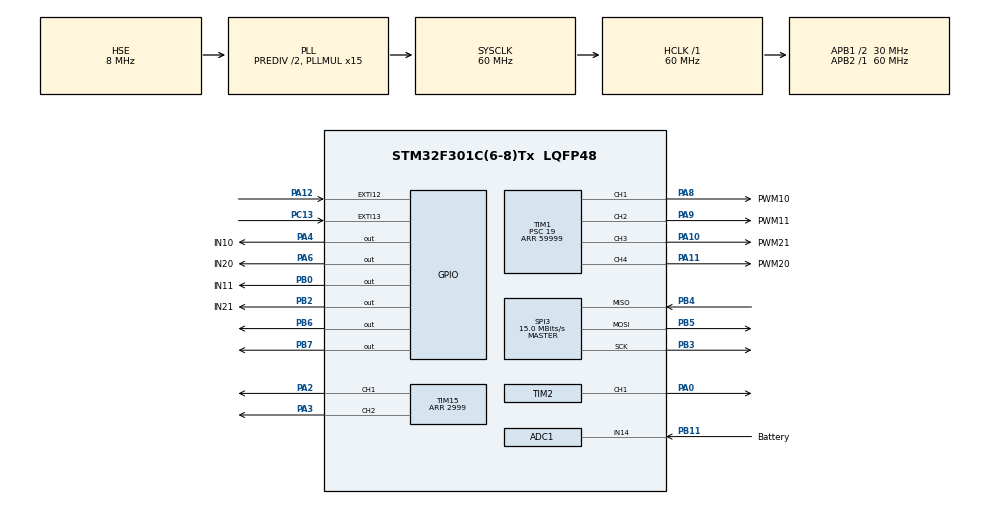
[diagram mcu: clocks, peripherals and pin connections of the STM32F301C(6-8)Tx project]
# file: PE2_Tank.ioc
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ADC1.Channel-0\#ChannelRegularConversion=ADC_CHANNEL_14
ADC1.ClockPrescaler=ADC_CLOCK_SYNC_PCLK_DIV4
ADC1.ContinuousConvMode=ENABLE
ADC1.DMAContinuousRequests=DISABLE
ADC1.EOCSelection=ADC_EOC_SEQ_CONV
ADC1.NbrOfConversionFlag=1
ADC1.Offset-0\#ChannelRegularConversion=0
ADC1.OffsetNumber-0\#ChannelRegularConversion=ADC_OFFSET_NONE
ADC1.Rank-0\#ChannelRegularConversion=1
ADC1.SamplingTime-0\#ChannelRegularConversion=ADC_SAMPLETIME_19CYCLES_5
ADC1.SamplingTimeOPAMP-0\#ChannelRegularConversion=ADC_SAMPLETIME_61CYCLES_5
ADC1.SubFamily=STM32F301x8
ADC1.master=1
Mcu.Family=STM32F3
Mcu.Name=STM32F301C(6-8)Tx
Mcu.Package=LQFP48
NVIC.EXTI15_10_IRQn=true\:0\:0\:false\:false\:true\:true\:true\:true
NVIC.PriorityGroup=NVIC_PRIORITYGROUP_4
NVIC.TIM1_BRK_TIM15_IRQn=true\:0\:0\:false\:false\:true\:true\:true\:true
NVIC.TIM2_IRQn=true\:0\:0\:false\:false\:true\:true\:true\:true
PA0.Signal=S_TIM2_CH1_ETR
PA10.GPIO_Label=PWM21
PA10.Signal=S_TIM1_CH3
PA11.GPIO_Label=PWM20
PA11.Signal=S_TIM1_CH4
PA12.Signal=GPXTI12
PA13.Mode=Serial_Wire
PA13.Signal=SYS_JTMS-SWDIO
PA14.Mode=Serial_Wire
PA14.Signal=SYS_JTCK-SWCLK
PA2.Signal=S_TIM15_CH1
PA3.Signal=S_TIM15_CH2
PA4.GPIO_Label=IN10
PA4.Signal=GPIO_Output
PA6.GPIO_Label=IN20
PA6.Signal=GPIO_Output
PA8.GPIO_Label=PWM10
PA8.Signal=S_TIM1_CH1
PA9.GPIO_Label=PWM11
PA9.Signal=S_TIM1_CH2
PB0.GPIO_Label=IN11
PB0.Signal=GPIO_Output
PB11.GPIO_Label=Battery
PB11.Mode=IN14-Single-Ended
PB11.Signal=ADC1_IN14
PB2.GPIO_Label=IN21
PB2.Signal=GPIO_Output
PB3.Mode=Full_Duplex_Master
PB3.Signal=SPI3_SCK
PB4.Mode=Full_Duplex_Master
PB4.Signal=SPI3_MISO
PB5.Mode=Full_Duplex_Master
PB5.Signal=SPI3_MOSI
PB6.Signal=GPIO_Output
PB7.Signal=GPIO_Output
PC13.Signal=GPXTI13
PF0-OSC_IN.Mode=HSE-External-Oscillator
PF0-OSC_IN.Signal=RCC_OSC_IN
PF1-OSC_OUT.Mode=HSE-External-Oscillator
PF1-OSC_OUT.Signal=RCC_OSC_OUT
ProjectManager.HeapSize=0x200
ProjectManager.StackSize=0x400
ProjectManager.TargetToolchain=STM32CubeIDE
RCC.AHBFreq_Value=60000000
RCC.APB1CLKDivider=RCC_HCLK_DIV2
RCC.APB1Freq_Value=30000000
RCC.APB1TimFreq_Value=60000000
RCC.APB2Freq_Value=60000000
RCC.APB2TimFreq_Value=60000000
RCC.CortexFreq_Value=60000000
RCC.HCLKFreq_Value=60000000
RCC.HSE_VALUE=8000000
RCC.HSI_VALUE=8000000
RCC.LSE_VALUE=32768
RCC.PLLMUL=RCC_PLL_MUL15
RCC.PLLSourceVirtual=RCC_PLLSOURCE_HSE
RCC.RCC_PLLsource_Clock_Source_FROM_HSE=RCC_HSE_PREDIV_DIV2
RCC.SYSCLKFreq_VALUE=60000000
RCC.SYSCLKSourceVirtual=RCC_SYSCLKSOURCE_PLLCLK
SH.S_TIM15_CH1.0=TIM15_CH1,PWM Generation1 CH1
SH.S_TIM15_CH2.0=TIM15_CH2,PWM Generation2 CH2
SH.S_TIM1_CH1.0=TIM1_CH1,PWM Generation1 CH1
SH.S_TIM1_CH2.0=TIM1_CH2,PWM Generation2 CH2
SH.S_TIM1_CH3.0=TIM1_CH3,PWM Generation3 CH3
SH.S_TIM1_CH4.0=TIM1_CH4,PWM Generation4 CH4
SH.S_TIM2_CH1_ETR.0=TIM2_CH1,PWM Generation1 CH1
SPI3.CalculateBaudRate=15.0 MBits/s
SPI3.DataSize=SPI_DATASIZE_8BIT
SPI3.Direction=SPI_DIRECTION_2LINES
SPI3.Mode=SPI_MODE_MASTER
SPI3.VirtualType=VM_MASTER
TIM1.Channel-PWM\ Generation1\ CH1=TIM_CHANNEL_1
TIM1.Channel-PWM\ Generation2\ CH2=TIM_CHANNEL_2
TIM1.Channel-PWM\ Generation3\ CH3=TIM_CHANNEL_3
TIM1.Channel-PWM\ Generation4\ CH4=TIM_CHANNEL_4
TIM1.OC1Preload_PWM=ENABLE
TIM1.OC2Preload_PWM=ENABLE
TIM1.OC3Preload_PWM=ENABLE
TIM1.OC4Preload_PWM=ENABLE
TIM1.OCFastMode_PWM-PWM\ Generation1\ CH1=TIM_OCFAST_ENABLE
TIM1.OCFastMode_PWM-PWM\ Generation2\ CH2=TIM_OCFAST_ENABLE
TIM1.OCFastMode_PWM-PWM\ Generation3\ CH3=TIM_OCFAST_ENABLE
TIM1.OCFastMode_PWM-PWM\ Generation4\ CH4=TIM_OCFAST_ENABLE
TIM1.OCPolarity_1=TIM_OCPOLARITY_LOW
TIM1.OCPolarity_2=TIM_OCPOLARITY_LOW
TIM1.OCPolarity_3=TIM_OCPOLARITY_LOW
TIM1.OCPolarity_4=TIM_OCPOLARITY_LOW
TIM1.Period=59999
TIM1.Prescaler=19
TIM15.Channel-PWM\ Generation1\ CH1=TIM_CHANNEL_1
TIM15.Channel-PWM\ Generation2\ CH2=TIM_CHANNEL_2
TIM15.OC1Preload_PWM=ENABLE
TIM15.OC2Preload_PWM=ENABLE
TIM15.OCFastMode_PWM-PWM\ Generation1\ CH1=TIM_OCFAST_ENABLE
TIM15.OCFastMode_PWM-PWM\ Generation2\ CH2=TIM_OCFAST_ENABLE
TIM15.Period=2999
TIM2.AutoReloadPreload=TIM_AUTORELOAD_PRELOAD_DISABLE
TIM2.Channel-PWM\ Generation1\ CH1=TIM_CHANNEL_1
TIM2.OCPolarity_1=TIM_OCPOLARITY_LOW
TIM2.Period=599
TIM2.Prescaler=0
VP_TIM15_VS_ClockSourceINT.Mode=Internal
VP_TIM1_VS_ClockSourceINT.Mode=Internal
VP_TIM2_VS_ClockSourceINT.Mode=Internal
board=custom

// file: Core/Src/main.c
/* USER CODE BEGIN Header */
/**
  ******************************************************************************
  * @file           : main.c
  * @brief          : Main program body
  ******************************************************************************
  * @attention
  *
  * Copyright (c) 2024 STMicroelectronics.
  * All rights reserved.
  *
  * This software is licensed under terms that can be found in the LICENSE file
  * in the root directory of this software component.
  * If no LICENSE file comes with this software, it is provided AS-IS.
  *
  ******************************************************************************
  */
/* USER CODE END Header */
#include "main.h"

/* USER CODE BEGIN Includes */
#include "NRF24L01.h"

/* USER CODE END Includes */

/* USER CODE BEGIN PD */
#define DEAD_ZONE_LOW 1800
#define DEAD_ZONE_HIGH 2400
#define NOJITTER 3
/* USER CODE END PD */

 ADC_HandleTypeDef hadc1;

SPI_HandleTypeDef hspi3;

TIM_HandleTypeDef htim1;
TIM_HandleTypeDef htim2;
TIM_HandleTypeDef htim15;

/* USER CODE BEGIN PV */
 uint8_t RxAddress[] = {0xEE,0xDD,0xCC,0xBB,0xAA}; //Adres waar data naar word gesschreven. Zowel Rx als Tx adress moeten overeen komen bij het zenden en ontvangen van data.
 uint8_t RxData[19]; //Ontvangen data buffer. 18 bytes voor de doorgestuurde ADC's en 1 byte voor de status van de knoppen.
 uint32_t ADC_Values[9]; // Array voor het opslaan van de geconverteerde bytes naar 12bit
 uint8_t buttonStates; // Integer voor het opslaan van de status van de knoppen

 uint32_t dutyCycle_G1 = 0; //dutycycle servo kanon 1
 uint32_t index_G1 = 0; //index voor het rollend gemiddelde
 uint32_t dutyCycle_G1_total = 0; //telt de dutycycle op voor een gemiddelde
 uint32_t dutyCycle_G1_count = 0; //houdt bij hoeveel keer al is opgetelt
 uint32_t values_G1[10] = {0}; // Array voor het opslaan van de weaardes voor de berekening van het gemidelde
 uint32_t av_du_G1 = 0; // gemidelde duty cycle
 uint32_t Last_av_du_G1 = 0; // vorige gemidelde duty cycle

 uint32_t dutyCycle_G2 = 0; //dutycycle servo kanon 2
 uint32_t index_G2 = 0; //index voor het rollend gemiddelde
 uint32_t dutyCycle_G2_total = 0; //telt de dutycycle op voor een gemiddelde
 uint32_t dutyCycle_G2_count = 0; //houdt bij hoeveel keer al is opgetelt
 uint32_t values_G2[10] = {0}; // Array voor het opslaan van de weaardes voor de berekening van het gemidelde
 uint32_t av_du_G2 = 0; // gemidelde duty cycle
 uint32_t Last_av_du_G2 = 0; // vorige gemidelde duty cycle

 uint32_t dutyCycle_T1 = 0; //dutycycle servo kanontoren 1
 uint32_t index_T1 = 0; //index voor het rollend gemiddelde
 uint32_t dutyCycle_T1_total = 0; //telt de dutycycle op voor een gemiddelde
 uint32_t dutyCycle_T1_count = 0; //houdt bij hoeveel keer al is opgetelt
 uint32_t values_T1[10] = {0}; // Array voor het opslaan van de weaardes voor de berekening van het gemidelde
 uint32_t av_du_T1 = 0; // gemidelde duty cycle
 uint32_t Last_av_du_T1 = 0; // vorige gemidelde duty cycle

 uint32_t dutyCycle_T2 = 0; //dutycycle servo kanontoren 2
 uint32_t index_T2 = 0; //index voor het rollend gemiddelde
 uint32_t dutyCycle_T2_total = 0; //telt de dutycycle op voor een gemiddelde
 uint32_t dutyCycle_T2_count = 0; //houdt bij hoeveel keer al is opgetelt
 uint32_t values_T2[10] = {0}; // Array voor het opslaan van de weaardes voor de berekening van het gemidelde
 uint32_t av_du_T2 = 0; // gemidelde duty cycle
 uint32_t Last_av_du_T2 = 0; // vorige gemidelde duty cycle

 uint8_t dutyCycle_CH3 = 0;  // Duty cycle procent voor TIM2 Channel 3
 uint8_t dutyCycle_CH4 = 0;  // Duty cycle in procent voor TIM2 Channel 4
 int lowCountM1 = 0; //Teller om na te gaan of de waarde echt laag is of het gewoon jitter is in motor 1.
 int highCountM1 = 0; //Teller om na te gaan of de waarde echt hoog is of het gewoon jitter is in motor 1.
 int lowCountM2 = 0; //Teller om na te gaan of de waarde echt laag is of het gewoon jitter is in motor 2.
 int highCountM2 = 0; //Teller om na te gaan of de waarde echt hoog is of het gewoon jitter is in motor 2.

 uint32_t ADC; //ADC voor het niveau van de batterij

 uint32_t current_Tick;
 uint32_t prev_Tick;
/* USER CODE END PV */

void SystemClock_Config(void);
static void MX_GPIO_Init(void);
static void MX_SPI3_Init(void);
static void MX_TIM1_Init(void);
static void MX_ADC1_Init(void);
static void MX_TIM2_Init(void);
static void MX_TIM15_Init(void);
/* USER CODE BEGIN PFP */
void processData(void);
void adjustDutyCycle(void);
/* USER CODE END PFP */

/* USER CODE BEGIN 0 */
//////////////////////////////////////////////////////////////////////////////////////////////////////////////////////////////////////////////////////////////////
//////////////////////////////////////////////////////////////////////////////////////////////////////////////////////////////////////////////////////////////////
//////////////////////////////////////////////////////////////////////////////////////////////////////////////////////////////////////////////////////////////////
//////////////////// processData combineert alle ontvangen bytes terug naar hun originele 12 bit staat en onthoudt de status van de knoppen
//////////////////// bv. RxData[j] = lower 8 bits = 0100 1100 en RxData[j+1] = upper 4 bits = 0000 1011
////////////////////	 RxData[j+1] << 8 = 0000 1011 0000 0000
////////////////////     RxData[j] | RxData[j+1] =           0100 1100
////////////////////                            OR 0000 1011 0000 0000
////////////////////                             = 0000 1011 0100 1100 = 12 bit waarde
//////////////////////////////////////////////////////////////////////////////////////////////////////////////////////////////////////////////////////////////////
//////////////////////////////////////////////////////////////////////////////////////////////////////////////////////////////////////////////////////////////////
//////////////////////////////////////////////////////////////////////////////////////////////////////////////////////////////////////////////////////////////////
void processData(void){
	NRF24_Receive(RxData); // Ontvang data
	for (int i = 0, j = 0; i < 9; i++, j += 2) {
		ADC_Values[i] = (RxData[j] | (RxData[j+1] << 8));  // Combineert 2 ontvangen data bytes naar een 12 bit value.
	}
	buttonStates = RxData[18]; // Haalt de status van de knoppen uit de ontvangen data
	adjustDutyCycle(); // Roept de functie op voor het toepassen van de nieuwe waardes
}

//////////////////////////////////////////////////////////////////////////////////////////////////////////////////////////////////////////////////////////////////
//////////////////////////////////////////////////////////////////////////////////////////////////////////////////////////////////////////////////////////////////
//////////////////////////////////////////////////////////////////////////////////////////////////////////////////////////////////////////////////////////////////
//////////////////// adjustDutyCycle gebruikt de ontvangen waardes om de duyclyes van de motoren aan te passen
//////////////////////////////////////////////////////////////////////////////////////////////////////////////////////////////////////////////////////////////////
//////////////////////////////////////////////////////////////////////////////////////////////////////////////////////////////////////////////////////////////////
//////////////////////////////////////////////////////////////////////////////////////////////////////////////////////////////////////////////////////////////////
void adjustDutyCycle(void) {
	///////////////////////////////////////////////////////
	//////////////////// DC Motor 1 ///////////////////////
	///////////////////////////////////////////////////////
	if (ADC_Values[0] < 4096){ // zorgt ervoor dat foutieve waardes boven 4096 genegeert worden
		if (ADC_Values[0] < DEAD_ZONE_LOW) { // Als de ADC waarde onder de threshold ligt gaat de motor achteruit.
			lowCountM1 += 1;
			highCountM1 = 0;
			if(lowCountM1 >= NOJITTER) // Als de waarde 3 keer onder de threshold ligt dan weten we dat het geen jitter is.
			{
				lowCountM1 = 0;
				dutyCycle_CH3 = (DEAD_ZONE_LOW - ADC_Values[0]) * 100 / (DEAD_ZONE_LOW - 500); // berekent de dutycycle voor een waarde onder de threshold
				HAL_GPIO_WritePin(GPIOB, GPIO_PIN_2,0); //Configureert IN21
				HAL_GPIO_WritePin(GPIOB, GPIO_PIN_0,1); //Configureert IN11
			}
		}
		else if (ADC_Values[0] > DEAD_ZONE_HIGH) { // Als de ADC waarde boven de threshold ligt gaat de motor vooruit.
			highCountM1 += 1;
			lowCountM1 = 0;
			if(highCountM1 >= NOJITTER) // Als de waarde 3 keer onder de threshold ligt dan weten we dat het geen jitter is.
			{
				highCountM1 = 0;
				dutyCycle_CH3 = (ADC_Values[0] - DEAD_ZONE_HIGH) * 100 / (3550 - DEAD_ZONE_HIGH); // berekent de dutycycle voor een waarde boven de threshold
				HAL_GPIO_WritePin(GPIOB, GPIO_PIN_0,0); //Configureert IN11
				HAL_GPIO_WritePin(GPIOB, GPIO_PIN_2,1); //Configureert IN21
			}
		}
		else {
			highCountM1 = 0;
			lowCountM1 = 0;
			dutyCycle_CH3 = 0; // Motor stops in dead zone
		}
		__HAL_TIM_SET_COMPARE(&htim15, TIM_CHANNEL_1, (2999 * dutyCycle_CH3) / 100); //Gebruikt de nieuwe duty cycle en laat de motor draaien.
	}
	///////////////////////////////////////////////////////
	///////////////////////////////////////////////////////

	///////////////////////////////////////////////////////
	//////////////////// DC Motor 2 ///////////////////////
	///////////////////////////////////////////////////////
	if (ADC_Values[7] < 4096){ // zorgt ervoor dat foutieve waardes boven 4096 genegeert worden
		if (ADC_Values[7] < DEAD_ZONE_LOW) { // Als de ADC waarde onder de threshold ligt gaat de motor achteruit.
			lowCountM2 += 1;
			highCountM2 = 0;
			if(lowCountM2 >= NOJITTER) // Als de waarde 3 keer onder de threshold ligt dan weten we dat het geen jitter is.
			{
				lowCountM2 = 0;
				dutyCycle_CH4 = (DEAD_ZONE_LOW - ADC_Values[7]) * 100 / (DEAD_ZONE_LOW - 500); // berekent de dutycycle voor een waarde onder de threshold
				HAL_GPIO_WritePin(GPIOA, GPIO_PIN_4,0); //Configureert IN10
				HAL_GPIO_WritePin(GPIOA, GPIO_PIN_6,1); //Configureert IN20
			}
		}
		else if (ADC_Values[7] > DEAD_ZONE_HIGH) { // Als de ADC waarde boven de threshold ligt gaat de motor vooruit.
			highCountM2 += 1;
			lowCountM2 = 0;
			if(highCountM2 >= NOJITTER) // Als de waarde 3 keer onder de threshold ligt dan weten we dat het geen jitter is.
			{
				highCountM2 = 0;
				dutyCycle_CH4 = (ADC_Values[7] - DEAD_ZONE_HIGH) * 100 / (3550 - DEAD_ZONE_HIGH); // berekent de dutycycle voor een waarde boven de threshold
				HAL_GPIO_WritePin(GPIOA, GPIO_PIN_6,0); //Configureert IN20
				HAL_GPIO_WritePin(GPIOA, GPIO_PIN_4,1); //Configureert IN10
			}
		}
		else {
			highCountM2 = 0;
			lowCountM2 = 0;
			dutyCycle_CH4 = 0; // Motor stops in dead zone
		}
		__HAL_TIM_SET_COMPARE(&htim15, TIM_CHANNEL_2, (2999 * dutyCycle_CH4) / 100); //Gebruikt de nieuwe duty cycle en laat de motor draaien.
	}
	///////////////////////////////////////////////////////
	///////////////////////////////////////////////////////

	///////////////////////////////////////////////////////
	//////////////////// Kanon servo 1 ////////////////////
	///////////////////////////////////////////////////////
	dutyCycle_G1 = 3600 + ((ADC_Values[5] * (5200 - 3600)) / 4095); // the duty cycly = min value * % * (Max vcalue - Min Value) (20ms = 60khz)
	if (dutyCycle_G1 < 3600) // De waarden limiteren tot hun max/minimum
	{
		dutyCycle_G1 = 3600;
	}
	if (dutyCycle_G1 > 5200)
	{
		dutyCycle_G1 = 5200;
	}
	dutyCycle_G1_total = dutyCycle_G1_total - values_G1[index_G1] + dutyCycle_G1;
	values_G1[index_G1] = dutyCycle_G1;
	index_G1 = (index_G1 + 1) % 10;
	if (dutyCycle_G1_count < 10) { // Het rollend gemiddelde moet eerst tot 10 waarden stijgen nadien blijft deze hier.
		dutyCycle_G1_count++;
	}
	av_du_G1 = dutyCycle_G1_total / dutyCycle_G1_count; // Bereken de gemiddelde duty cycle
	if (av_du_G1 < 3600) // De waarden limiteren tot hun max/minimum
	{
		av_du_G1 = 3600;
	}
	if (av_du_G1 > 5200)
	{
		av_du_G1 = 5200;
	}
	if (av_du_G1 > Last_av_du_G1)
	{
		if ((av_du_G1 - Last_av_du_G1) > 150) // er mag pas bewogen worden van zodra er een verschil is van meer dan 100 eenheiden tegen over vorige waarde.
		{
			Last_av_du_G1 = av_du_G1;
			HAL_TIM_PWM_Stop(&htim1, TIM_CHANNEL_1);
			HAL_TIM_PWM_Stop(&htim1, TIM_CHANNEL_2);
			HAL_TIM_PWM_Stop(&htim1, TIM_CHANNEL_4);
			__HAL_TIM_SET_COMPARE(&htim1, TIM_CHANNEL_3,av_du_G1); // gebruik de gevonde duty cycle
			HAL_TIM_PWM_Start(&htim1, TIM_CHANNEL_3);
			HAL_Delay(20);
			HAL_TIM_PWM_Stop(&htim1, TIM_CHANNEL_3);
		}
	}
	if (av_du_G1 < Last_av_du_G1)
	{
		if ((Last_av_du_G1 - av_du_G1) > 150) // er mag pas bewogen worden van zodra er een verschil is van meer dan 100 eenheiden tegen over vorige waarde.
		{
			Last_av_du_G1 = av_du_G1;
			HAL_TIM_PWM_Stop(&htim1, TIM_CHANNEL_1);
			HAL_TIM_PWM_Stop(&htim1, TIM_CHANNEL_2);
			HAL_TIM_PWM_Stop(&htim1, TIM_CHANNEL_4);
			__HAL_TIM_SET_COMPARE(&htim1, TIM_CHANNEL_3,av_du_G1); // gebruik de gevonde duty cycle
			HAL_TIM_PWM_Start(&htim1, TIM_CHANNEL_3);
			HAL_Delay(40);
			HAL_TIM_PWM_Stop(&htim1, TIM_CHANNEL_3);
		}
	}
	///////////////////////////////////////////////////////
	///////////////////////////////////////////////////////

	///////////////////////////////////////////////////////
	//////////////////// Kanon servo 2 ////////////////////
	///////////////////////////////////////////////////////
	dutyCycle_G2 = 3600 + ((ADC_Values[2] * (5200 - 3600)) / 4095); // the duty cycly = min value * % * (Max vcalue - Min Value) (20ms = 60khz)
	if (dutyCycle_G2 < 3600) // De waarden limiteren tot hun max/minimum
	{
		dutyCycle_G2 = 3600;
	}
	if (dutyCycle_G2 > 5200)
	{
		dutyCycle_G2 = 5200;
	}
	dutyCycle_G2_total = dutyCycle_G2_total - values_G2[index_G2] + dutyCycle_G2; // de totaalsom van het rollent gemiddelde = De som - de oudste waar + de nieuwste waarde
	values_G2[index_G2] = dutyCycle_G2;
	index_G2 = (index_G2 + 1) % 10;
	if (dutyCycle_G2_count < 10) { // Het rollend gemiddelde moet eerst tot 10 waarden stijgen nadien blijft deze hier.
		dutyCycle_G2_count++;
	}
	av_du_G2 = dutyCycle_G2_total / dutyCycle_G2_count; // Bereken de gemiddelde duty cycle
	if (av_du_G2 < 3600) // De waarden limiteren tot hun max/minimum
	{
		av_du_G2 = 3600;
	}
	if (av_du_G2 > 5200)
	{
		av_du_G2 = 5200;
	}
	if (av_du_G2 > Last_av_du_G2)
	{
		if ((av_du_G2 - Last_av_du_G2) > 150) // er mag pas bewogen worden van zodra er een verschil is van meer dan 100 eenheiden tegen over vorige waarde.
		{
			Last_av_du_G2 = av_du_G2;
			HAL_TIM_PWM_Stop(&htim1, TIM_CHANNEL_1);
			HAL_TIM_PWM_Stop(&htim1, TIM_CHANNEL_3);
			HAL_TIM_PWM_Stop(&htim1, TIM_CHANNEL_4);
			__HAL_TIM_SET_COMPARE(&htim1, TIM_CHANNEL_2,av_du_G2); // gebruik de gevonde duty cycle
			HAL_TIM_PWM_Start(&htim1, TIM_CHANNEL_2);
			HAL_Delay(20);
			HAL_TIM_PWM_Stop(&htim1, TIM_CHANNEL_2);
		}
	}
	if (av_du_G2 < Last_av_du_G2)
	{
		if ((Last_av_du_G2 - av_du_G2) > 150) // er mag pas bewogen worden van zodra er een verschil is van meer dan 100 eenheiden tegen over vorige waarde.
		{
			Last_av_du_G2 = av_du_G2;
			HAL_TIM_PWM_Stop(&htim1, TIM_CHANNEL_1);
			HAL_TIM_PWM_Stop(&htim1, TIM_CHANNEL_3);
			HAL_TIM_PWM_Stop(&htim1, TIM_CHANNEL_4);
			__HAL_TIM_SET_COMPARE(&htim1, TIM_CHANNEL_2,av_du_G2); // gebruik de gevonde duty cycle
			HAL_TIM_PWM_Start(&htim1, TIM_CHANNEL_2);
			HAL_Delay(40);
			HAL_TIM_PWM_Stop(&htim1, TIM_CHANNEL_2);
		}
	}
	///////////////////////////////////////////////////////
	///////////////////////////////////////////////////////

	///////////////////////////////////////////////////////
	//////////////////// Kanonentoren servo 1 /////////////
	///////////////////////////////////////////////////////

	dutyCycle_T1 = 3000 + ((ADC_Values[4] * (6000 - 3000)) / 4095); // the duty cycly = min value * % * (Max vcalue - Min Value) (20ms = 60khz)
	if (dutyCycle_T1 < 3000) // De waarden limiteren tot hun max/minimum
	{
		dutyCycle_T1 = 3000;
	}
	if (dutyCycle_T1 > 6000)
	{
		dutyCycle_T1 = 6000;
	}
	dutyCycle_T1_total = dutyCycle_T1_total - values_T1[index_T1] + dutyCycle_T1; // de totaalsom van het rollent gemiddelde = De som - de oudste waar + de nieuwste waarde
	values_T1[index_T1] = dutyCycle_T1;
	index_T1 = (index_T1 + 1) % 10;
	if (dutyCycle_T1_count < 10) { // Het rollend gemiddelde moet eerst tot 10 waarden stijgen nadien blijft deze hier.
		dutyCycle_T1_count++;
	}
	av_du_T1 = dutyCycle_T1_total / dutyCycle_T1_count; // Bereken de gemiddelde duty cycle
	if (av_du_T1 < 3000) // De waarden limiteren tot hun max/minimum
	{
		av_du_T1 = 3000;
	}
	if (av_du_T1 > 6000)
	{
		av_du_T1 = 6000;
	}
	if (av_du_T1 > Last_av_du_T1)
	{
		if ((av_du_T1 - Last_av_du_T1) > 500) // er mag pas bewogen worden van zodra er een verschil is van meer dan 100 eenheiden tegen over vorige waarde.
		{
			Last_av_du_T1 = av_du_T1;
			HAL_TIM_PWM_Stop(&htim1, TIM_CHANNEL_1);
			HAL_TIM_PWM_Stop(&htim1, TIM_CHANNEL_2);
			HAL_TIM_PWM_Stop(&htim1, TIM_CHANNEL_3);
			__HAL_TIM_SET_COMPARE(&htim1, TIM_CHANNEL_4,av_du_T1); // gebruik de gevonde duty cycle
			HAL_TIM_PWM_Start(&htim1, TIM_CHANNEL_4);
			HAL_Delay(20);
			HAL_TIM_PWM_Stop(&htim1, TIM_CHANNEL_4);
		}
	}
	if (av_du_T1 < Last_av_du_T1)
	{
		if ((Last_av_du_T1 - av_du_T1) > 500) // er mag pas bewogen worden van zodra er een verschil is van meer dan 100 eenheiden tegen over vorige waarde.
		{
			Last_av_du_T1 = av_du_T1;
			HAL_TIM_PWM_Stop(&htim1, TIM_CHANNEL_1);
			HAL_TIM_PWM_Stop(&htim1, TIM_CHANNEL_2);
			HAL_TIM_PWM_Stop(&htim1, TIM_CHANNEL_3);
			__HAL_TIM_SET_COMPARE(&htim1, TIM_CHANNEL_4,av_du_T1); // gebruik de gevonde duty cycle
			HAL_TIM_PWM_Start(&htim1, TIM_CHANNEL_4);
			HAL_Delay(40);
			HAL_TIM_PWM_Stop(&htim1, TIM_CHANNEL_4);
		}
	}
	///////////////////////////////////////////////////////
	///////////////////////////////////////////////////////

	///////////////////////////////////////////////////////
	//////////////////// Kanonentoren servo 2 /////////////
	///////////////////////////////////////////////////////

	dutyCycle_T2 = 3000 + ((ADC_Values[3] * (6000 - 3000)) / 4095); // the duty cycly = min value * % * (Max vcalue - Min Value) (20ms = 60khz)
	if (dutyCycle_T2 < 3000) // De waarden limiteren tot hun max/minimum
	{
		dutyCycle_T2 = 3000;
	}
	if (dutyCycle_T2 > 6000)
	{
		dutyCycle_T2 = 6000;
	}
	dutyCycle_T2_total = dutyCycle_T2_total - values_T2[index_T2] + dutyCycle_T2; // de totaalsom van het rollent gemiddelde = De som - de oudste waar + de nieuwste waarde
	values_T2[index_T2] = dutyCycle_T2;
	index_T2 = (index_T2 + 1) % 10;
	if (dutyCycle_T2_count < 10) { // Het rollend gemiddelde moet eerst tot 10 waarden stijgen nadien blijft deze hier.
		dutyCycle_T2_count++;
	}
	av_du_T2 = dutyCycle_T2_total / dutyCycle_T2_count; // Bereken de gemiddelde duty cycle
	if (av_du_T2 < 3000) // De waarden limiteren tot hun max/minimum
	{
		av_du_T2 = 3000;
	}
	if (av_du_T2 > 6000)
	{
		av_du_T2 = 6000;
	}
	if (av_du_T2 > Last_av_du_T2)
	{
		if ((av_du_T2 - Last_av_du_T2) > 150) // er mag pas bewogen worden van zodra er een verschil is van meer dan 100 eenheiden tegen over vorige waarde.
		{
			Last_av_du_T2 = av_du_T2;
			HAL_TIM_PWM_Stop(&htim1, TIM_CHANNEL_4);
			HAL_TIM_PWM_Stop(&htim1, TIM_CHANNEL_2);
			HAL_TIM_PWM_Stop(&htim1, TIM_CHANNEL_3);
			__HAL_TIM_SET_COMPARE(&htim1, TIM_CHANNEL_1,av_du_T2); // gebruik de gevonde duty cycle
			HAL_TIM_PWM_Start(&htim1, TIM_CHANNEL_1);
			HAL_Delay(20);
			HAL_TIM_PWM_Stop(&htim1, TIM_CHANNEL_1);
		}
	}
	if (av_du_T2 < Last_av_du_T2)
	{
		if ((Last_av_du_T2 - av_du_T2) > 150) // er mag pas bewogen worden van zodra er een verschil is van meer dan 100 eenheiden tegen over vorige waarde.
		{
			Last_av_du_T2 = av_du_T2;
			HAL_TIM_PWM_Stop(&htim1, TIM_CHANNEL_4);
			HAL_TIM_PWM_Stop(&htim1, TIM_CHANNEL_2);
			HAL_TIM_PWM_Stop(&htim1, TIM_CHANNEL_3);
			__HAL_TIM_SET_COMPARE(&htim1, TIM_CHANNEL_1,av_du_T2); // gebruik de gevonde duty cycle
			HAL_TIM_PWM_Start(&htim1, TIM_CHANNEL_1);
			HAL_Delay(40);
			HAL_TIM_PWM_Stop(&htim1, TIM_CHANNEL_1);
		}
	}
}

/* USER CODE END 0 */

int main(void)
{

  /* MCU Configuration--------------------------------------------------------*/

  /* Reset of all peripherals, Initializes the Flash interface and the Systick. */
  HAL_Init();

  /* Configure the system clock */
  SystemClock_Config();

  /* Initialize all configured peripherals */
  MX_GPIO_Init();
  MX_SPI3_Init();
  MX_TIM1_Init();
  MX_ADC1_Init();
  MX_TIM2_Init();
  MX_TIM15_Init();
  /* USER CODE BEGIN 2 */

  NRF24_Init();	// Initialiseert de NRF24L01+ module.
  NRF24_RXMode(RxAddress, 10); // Configureert de NRF24L01+ module in Receive mode.
  HAL_TIM_Base_Start_IT(&htim1); //Start timer 1 gebruikt voor de servo motoren.
  HAL_TIM_Base_Start_IT(&htim15); //Start timer 2 gebruikt voor de DC motoren.
  HAL_TIM_PWM_Start(&htim15, TIM_CHANNEL_1); //Start de PWM voor DC motor 1.
  HAL_TIM_PWM_Start(&htim15, TIM_CHANNEL_2);  //Start de PWM voor DC motor 2.
  __HAL_TIM_SET_COMPARE(&htim15, TIM_CHANNEL_1, 0); // Initialisert de counter op 0 van DC motor 1 zodat deze niet automatisch start met rijden.
  __HAL_TIM_SET_COMPARE(&htim15, TIM_CHANNEL_2, 0); // Initialisert de counter op 0 van DC motor 2 zodat deze niet automatisch start met rijden.
  HAL_ADC_Start(&hadc1); // Start de ADC voor het batterij niveau.
  /* USER CODE END 2 */

  /* Infinite loop */
  while (1)
  {

    /* USER CODE BEGIN 3 */
	  current_Tick = HAL_GetTick();
	  if (HAL_ADC_PollForConversion(&hadc1, 1000000) == HAL_OK)
	  {
		  ADC = HAL_ADC_GetValue(&hadc1);
	  }
	  if(ADC > 3020) //kijkt na of het batterij niveau nog boven 11.8V is.
	  {
		  if (isDataAvailable(1) == 1) // Kijkt na of er data beschikbaar is.
		  {
			  prev_Tick = HAL_GetTick();
			  processData(); //Als data beschikbaar is gaan we deze data verwerken.
		  }
	  }
	  if (prev_Tick + 500 < current_Tick)
	  {
		  prev_Tick = HAL_GetTick();
		  HAL_TIM_PWM_Stop(&htim15, TIM_CHANNEL_1);
		  HAL_TIM_PWM_Stop(&htim15, TIM_CHANNEL_2);
		  HAL_TIM_PWM_Stop(&htim1, TIM_CHANNEL_1);
		  HAL_TIM_PWM_Stop(&htim1, TIM_CHANNEL_2);
		  HAL_TIM_PWM_Stop(&htim1, TIM_CHANNEL_3);
		  HAL_TIM_PWM_Stop(&htim1, TIM_CHANNEL_4);
	  }
  }
  /* USER CODE END 3 */
}

void SystemClock_Config(void)
{
  RCC_OscInitTypeDef RCC_OscInitStruct = {0};
  RCC_ClkInitTypeDef RCC_ClkInitStruct = {0};
  RCC_PeriphCLKInitTypeDef PeriphClkInit = {0};

  /** Initializes the RCC Oscillators according to the specified parameters
  * in the RCC_OscInitTypeDef structure.
  */
  RCC_OscInitStruct.OscillatorType = RCC_OSCILLATORTYPE_HSE;
  RCC_OscInitStruct.HSEState = RCC_HSE_ON;
  RCC_OscInitStruct.HSEPredivValue = RCC_HSE_PREDIV_DIV2;
  RCC_OscInitStruct.HSIState = RCC_HSI_ON;
  RCC_OscInitStruct.PLL.PLLState = RCC_PLL_ON;
  RCC_OscInitStruct.PLL.PLLSource = RCC_PLLSOURCE_HSE;
  RCC_OscInitStruct.PLL.PLLMUL = RCC_PLL_MUL15;
  if (HAL_RCC_OscConfig(&RCC_OscInitStruct) != HAL_OK)
  {
    Error_Handler();
  }

  /** Initializes the CPU, AHB and APB buses clocks
  */
  RCC_ClkInitStruct.ClockType = RCC_CLOCKTYPE_HCLK|RCC_CLOCKTYPE_SYSCLK
                              |RCC_CLOCKTYPE_PCLK1|RCC_CLOCKTYPE_PCLK2;
  RCC_ClkInitStruct.SYSCLKSource = RCC_SYSCLKSOURCE_PLLCLK;
  RCC_ClkInitStruct.AHBCLKDivider = RCC_SYSCLK_DIV1;
  RCC_ClkInitStruct.APB1CLKDivider = RCC_HCLK_DIV2;
  RCC_ClkInitStruct.APB2CLKDivider = RCC_HCLK_DIV1;

  if (HAL_RCC_ClockConfig(&RCC_ClkInitStruct, FLASH_LATENCY_2) != HAL_OK)
  {
    Error_Handler();
  }
  PeriphClkInit.PeriphClockSelection = RCC_PERIPHCLK_TIM1|RCC_PERIPHCLK_TIM15;
  PeriphClkInit.Tim1ClockSelection = RCC_TIM1CLK_HCLK;
  PeriphClkInit.Tim15ClockSelection = RCC_TIM15CLK_HCLK;
  if (HAL_RCCEx_PeriphCLKConfig(&PeriphClkInit) != HAL_OK)
  {
    Error_Handler();
  }
}

static void MX_ADC1_Init(void)
{

  ADC_ChannelConfTypeDef sConfig = {0};

  /** Common config
  */
  hadc1.Instance = ADC1;
  hadc1.Init.ClockPrescaler = ADC_CLOCK_SYNC_PCLK_DIV4;
  hadc1.Init.Resolution = ADC_RESOLUTION_12B;
  hadc1.Init.ScanConvMode = ADC_SCAN_DISABLE;
  hadc1.Init.ContinuousConvMode = ENABLE;
  hadc1.Init.DiscontinuousConvMode = DISABLE;
  hadc1.Init.ExternalTrigConvEdge = ADC_EXTERNALTRIGCONVEDGE_NONE;
  hadc1.Init.ExternalTrigConv = ADC_SOFTWARE_START;
  hadc1.Init.DataAlign = ADC_DATAALIGN_RIGHT;
  hadc1.Init.NbrOfConversion = 1;
  hadc1.Init.DMAContinuousRequests = DISABLE;
  hadc1.Init.EOCSelection = ADC_EOC_SEQ_CONV;
  hadc1.Init.LowPowerAutoWait = DISABLE;
  hadc1.Init.Overrun = ADC_OVR_DATA_OVERWRITTEN;
  if (HAL_ADC_Init(&hadc1) != HAL_OK)
  {
    Error_Handler();
  }

  /** Configure Regular Channel
  */
  sConfig.Channel = ADC_CHANNEL_14;
  sConfig.Rank = ADC_REGULAR_RANK_1;
  sConfig.SingleDiff = ADC_SINGLE_ENDED;
  sConfig.SamplingTime = ADC_SAMPLETIME_19CYCLES_5;
  sConfig.OffsetNumber = ADC_OFFSET_NONE;
  sConfig.Offset = 0;
  if (HAL_ADC_ConfigChannel(&hadc1, &sConfig) != HAL_OK)
  {
    Error_Handler();
  }

}

static void MX_SPI3_Init(void)
{

  /* SPI3 parameter configuration*/
  hspi3.Instance = SPI3;
  hspi3.Init.Mode = SPI_MODE_MASTER;
  hspi3.Init.Direction = SPI_DIRECTION_2LINES;
  hspi3.Init.DataSize = SPI_DATASIZE_8BIT;
  hspi3.Init.CLKPolarity = SPI_POLARITY_LOW;
  hspi3.Init.CLKPhase = SPI_PHASE_1EDGE;
  hspi3.Init.NSS = SPI_NSS_SOFT;
  hspi3.Init.BaudRatePrescaler = SPI_BAUDRATEPRESCALER_2;
  hspi3.Init.FirstBit = SPI_FIRSTBIT_MSB;
  hspi3.Init.TIMode = SPI_TIMODE_DISABLE;
  hspi3.Init.CRCCalculation = SPI_CRCCALCULATION_DISABLE;
  hspi3.Init.CRCPolynomial = 7;
  hspi3.Init.CRCLength = SPI_CRC_LENGTH_DATASIZE;
  hspi3.Init.NSSPMode = SPI_NSS_PULSE_ENABLE;
  if (HAL_SPI_Init(&hspi3) != HAL_OK)
  {
    Error_Handler();
  }

}

static void MX_TIM1_Init(void)
{

  TIM_ClockConfigTypeDef sClockSourceConfig = {0};
  TIM_MasterConfigTypeDef sMasterConfig = {0};
  TIM_OC_InitTypeDef sConfigOC = {0};
  TIM_BreakDeadTimeConfigTypeDef sBreakDeadTimeConfig = {0};

  htim1.Instance = TIM1;
  htim1.Init.Prescaler = 19;
  htim1.Init.CounterMode = TIM_COUNTERMODE_UP;
  htim1.Init.Period = 59999;
  htim1.Init.ClockDivision = TIM_CLOCKDIVISION_DIV1;
  htim1.Init.RepetitionCounter = 0;
  htim1.Init.AutoReloadPreload = TIM_AUTORELOAD_PRELOAD_DISABLE;
  if (HAL_TIM_Base_Init(&htim1) != HAL_OK)
  {
    Error_Handler();
  }
  sClockSourceConfig.ClockSource = TIM_CLOCKSOURCE_INTERNAL;
  if (HAL_TIM_ConfigClockSource(&htim1, &sClockSourceConfig) != HAL_OK)
  {
    Error_Handler();
  }
  if (HAL_TIM_PWM_Init(&htim1) != HAL_OK)
  {
    Error_Handler();
  }
  sMasterConfig.MasterOutputTrigger = TIM_TRGO_RESET;
  sMasterConfig.MasterOutputTrigger2 = TIM_TRGO2_RESET;
  sMasterConfig.MasterSlaveMode = TIM_MASTERSLAVEMODE_DISABLE;
  if (HAL_TIMEx_MasterConfigSynchronization(&htim1, &sMasterConfig) != HAL_OK)
  {
    Error_Handler();
  }
  sConfigOC.OCMode = TIM_OCMODE_PWM1;
  sConfigOC.Pulse = 0;
  sConfigOC.OCPolarity = TIM_OCPOLARITY_LOW;
  sConfigOC.OCNPolarity = TIM_OCNPOLARITY_HIGH;
  sConfigOC.OCFastMode = TIM_OCFAST_ENABLE;
  sConfigOC.OCIdleState = TIM_OCIDLESTATE_RESET;
  sConfigOC.OCNIdleState = TIM_OCNIDLESTATE_RESET;
  if (HAL_TIM_PWM_ConfigChannel(&htim1, &sConfigOC, TIM_CHANNEL_1) != HAL_OK)
  {
    Error_Handler();
  }
  if (HAL_TIM_PWM_ConfigChannel(&htim1, &sConfigOC, TIM_CHANNEL_2) != HAL_OK)
  {
    Error_Handler();
  }
  if (HAL_TIM_PWM_ConfigChannel(&htim1, &sConfigOC, TIM_CHANNEL_3) != HAL_OK)
  {
    Error_Handler();
  }
  if (HAL_TIM_PWM_ConfigChannel(&htim1, &sConfigOC, TIM_CHANNEL_4) != HAL_OK)
  {
    Error_Handler();
  }
  sBreakDeadTimeConfig.OffStateRunMode = TIM_OSSR_DISABLE;
  sBreakDeadTimeConfig.OffStateIDLEMode = TIM_OSSI_DISABLE;
  sBreakDeadTimeConfig.LockLevel = TIM_LOCKLEVEL_OFF;
  sBreakDeadTimeConfig.DeadTime = 0;
  sBreakDeadTimeConfig.BreakState = TIM_BREAK_DISABLE;
  sBreakDeadTimeConfig.BreakPolarity = TIM_BREAKPOLARITY_HIGH;
  sBreakDeadTimeConfig.BreakFilter = 0;
  sBreakDeadTimeConfig.Break2State = TIM_BREAK2_DISABLE;
  sBreakDeadTimeConfig.Break2Polarity = TIM_BREAK2POLARITY_HIGH;
  sBreakDeadTimeConfig.Break2Filter = 0;
  sBreakDeadTimeConfig.AutomaticOutput = TIM_AUTOMATICOUTPUT_DISABLE;
  if (HAL_TIMEx_ConfigBreakDeadTime(&htim1, &sBreakDeadTimeConfig) != HAL_OK)
  {
    Error_Handler();
  }
  HAL_TIM_MspPostInit(&htim1);

}

static void MX_TIM2_Init(void)
{

  TIM_ClockConfigTypeDef sClockSourceConfig = {0};
  TIM_MasterConfigTypeDef sMasterConfig = {0};
  TIM_OC_InitTypeDef sConfigOC = {0};

  htim2.Instance = TIM2;
  htim2.Init.Prescaler = 0;
  htim2.Init.CounterMode = TIM_COUNTERMODE_UP;
  htim2.Init.Period = 599;
  htim2.Init.ClockDivision = TIM_CLOCKDIVISION_DIV1;
  htim2.Init.AutoReloadPreload = TIM_AUTORELOAD_PRELOAD_DISABLE;
  if (HAL_TIM_Base_Init(&htim2) != HAL_OK)
  {
    Error_Handler();
  }
  sClockSourceConfig.ClockSource = TIM_CLOCKSOURCE_INTERNAL;
  if (HAL_TIM_ConfigClockSource(&htim2, &sClockSourceConfig) != HAL_OK)
  {
    Error_Handler();
  }
  if (HAL_TIM_PWM_Init(&htim2) != HAL_OK)
  {
    Error_Handler();
  }
  sMasterConfig.MasterOutputTrigger = TIM_TRGO_RESET;
  sMasterConfig.MasterSlaveMode = TIM_MASTERSLAVEMODE_DISABLE;
  if (HAL_TIMEx_MasterConfigSynchronization(&htim2, &sMasterConfig) != HAL_OK)
  {
    Error_Handler();
  }
  sConfigOC.OCMode = TIM_OCMODE_PWM1;
  sConfigOC.Pulse = 0;
  sConfigOC.OCPolarity = TIM_OCPOLARITY_LOW;
  sConfigOC.OCFastMode = TIM_OCFAST_DISABLE;
  if (HAL_TIM_PWM_ConfigChannel(&htim2, &sConfigOC, TIM_CHANNEL_1) != HAL_OK)
  {
    Error_Handler();
  }
  HAL_TIM_MspPostInit(&htim2);

}

static void MX_TIM15_Init(void)
{

  TIM_ClockConfigTypeDef sClockSourceConfig = {0};
  TIM_MasterConfigTypeDef sMasterConfig = {0};
  TIM_OC_InitTypeDef sConfigOC = {0};
  TIM_BreakDeadTimeConfigTypeDef sBreakDeadTimeConfig = {0};

  htim15.Instance = TIM15;
  htim15.Init.Prescaler = 0;
  htim15.Init.CounterMode = TIM_COUNTERMODE_UP;
  htim15.Init.Period = 2999;
  htim15.Init.ClockDivision = TIM_CLOCKDIVISION_DIV1;
  htim15.Init.RepetitionCounter = 0;
  htim15.Init.AutoReloadPreload = TIM_AUTORELOAD_PRELOAD_DISABLE;
  if (HAL_TIM_Base_Init(&htim15) != HAL_OK)
  {
    Error_Handler();
  }
  sClockSourceConfig.ClockSource = TIM_CLOCKSOURCE_INTERNAL;
  if (HAL_TIM_ConfigClockSource(&htim15, &sClockSourceConfig) != HAL_OK)
  {
    Error_Handler();
  }
  if (HAL_TIM_PWM_Init(&htim15) != HAL_OK)
  {
    Error_Handler();
  }
  sMasterConfig.MasterOutputTrigger = TIM_TRGO_RESET;
  sMasterConfig.MasterSlaveMode = TIM_MASTERSLAVEMODE_DISABLE;
  if (HAL_TIMEx_MasterConfigSynchronization(&htim15, &sMasterConfig) != HAL_OK)
  {
    Error_Handler();
  }
  sConfigOC.OCMode = TIM_OCMODE_PWM1;
  sConfigOC.Pulse = 0;
  sConfigOC.OCPolarity = TIM_OCPOLARITY_HIGH;
  sConfigOC.OCNPolarity = TIM_OCNPOLARITY_HIGH;
  sConfigOC.OCFastMode = TIM_OCFAST_ENABLE;
  sConfigOC.OCIdleState = TIM_OCIDLESTATE_RESET;
  sConfigOC.OCNIdleState = TIM_OCNIDLESTATE_RESET;
  if (HAL_TIM_PWM_ConfigChannel(&htim15, &sConfigOC, TIM_CHANNEL_1) != HAL_OK)
  {
    Error_Handler();
  }
  if (HAL_TIM_PWM_ConfigChannel(&htim15, &sConfigOC, TIM_CHANNEL_2) != HAL_OK)
  {
    Error_Handler();
  }
  sBreakDeadTimeConfig.OffStateRunMode = TIM_OSSR_DISABLE;
  sBreakDeadTimeConfig.OffStateIDLEMode = TIM_OSSI_DISABLE;
  sBreakDeadTimeConfig.LockLevel = TIM_LOCKLEVEL_OFF;
  sBreakDeadTimeConfig.DeadTime = 0;
  sBreakDeadTimeConfig.BreakState = TIM_BREAK_DISABLE;
  sBreakDeadTimeConfig.BreakPolarity = TIM_BREAKPOLARITY_HIGH;
  sBreakDeadTimeConfig.BreakFilter = 0;
  sBreakDeadTimeConfig.AutomaticOutput = TIM_AUTOMATICOUTPUT_DISABLE;
  if (HAL_TIMEx_ConfigBreakDeadTime(&htim15, &sBreakDeadTimeConfig) != HAL_OK)
  {
    Error_Handler();
  }
  HAL_TIM_MspPostInit(&htim15);

}

static void MX_GPIO_Init(void)
{
  GPIO_InitTypeDef GPIO_InitStruct = {0};

  /* GPIO Ports Clock Enable */
  __HAL_RCC_GPIOC_CLK_ENABLE();
  __HAL_RCC_GPIOF_CLK_ENABLE();
  __HAL_RCC_GPIOA_CLK_ENABLE();
  __HAL_RCC_GPIOB_CLK_ENABLE();

  /*Configure GPIO pin Output Level */
  HAL_GPIO_WritePin(GPIOA, IN10_Pin|IN20_Pin, GPIO_PIN_RESET);

  /*Configure GPIO pin Output Level */
  HAL_GPIO_WritePin(GPIOB, IN11_Pin|IN21_Pin|GPIO_PIN_6|GPIO_PIN_7, GPIO_PIN_RESET);

  /*Configure GPIO pin : PC13 */
  GPIO_InitStruct.Pin = GPIO_PIN_13;
  GPIO_InitStruct.Mode = GPIO_MODE_IT_RISING;
  GPIO_InitStruct.Pull = GPIO_NOPULL;
  HAL_GPIO_Init(GPIOC, &GPIO_InitStruct);

  /*Configure GPIO pins : IN10_Pin IN20_Pin */
  GPIO_InitStruct.Pin = IN10_Pin|IN20_Pin;
  GPIO_InitStruct.Mode = GPIO_MODE_OUTPUT_PP;
  GPIO_InitStruct.Pull = GPIO_NOPULL;
  GPIO_InitStruct.Speed = GPIO_SPEED_FREQ_LOW;
  HAL_GPIO_Init(GPIOA, &GPIO_InitStruct);

  /*Configure GPIO pins : IN11_Pin IN21_Pin PB6 PB7 */
  GPIO_InitStruct.Pin = IN11_Pin|IN21_Pin|GPIO_PIN_6|GPIO_PIN_7;
  GPIO_InitStruct.Mode = GPIO_MODE_OUTPUT_PP;
  GPIO_InitStruct.Pull = GPIO_NOPULL;
  GPIO_InitStruct.Speed = GPIO_SPEED_FREQ_LOW;
  HAL_GPIO_Init(GPIOB, &GPIO_InitStruct);

  /*Configure GPIO pin : PA12 */
  GPIO_InitStruct.Pin = GPIO_PIN_12;
  GPIO_InitStruct.Mode = GPIO_MODE_IT_RISING;
  GPIO_InitStruct.Pull = GPIO_NOPULL;
  HAL_GPIO_Init(GPIOA, &GPIO_InitStruct);

  /* EXTI interrupt init*/
  HAL_NVIC_SetPriority(EXTI15_10_IRQn, 0, 0);
  HAL_NVIC_EnableIRQ(EXTI15_10_IRQn);

}

void Error_Handler(void)
{
  __disable_irq();
  while (1)
  {
  }
}
